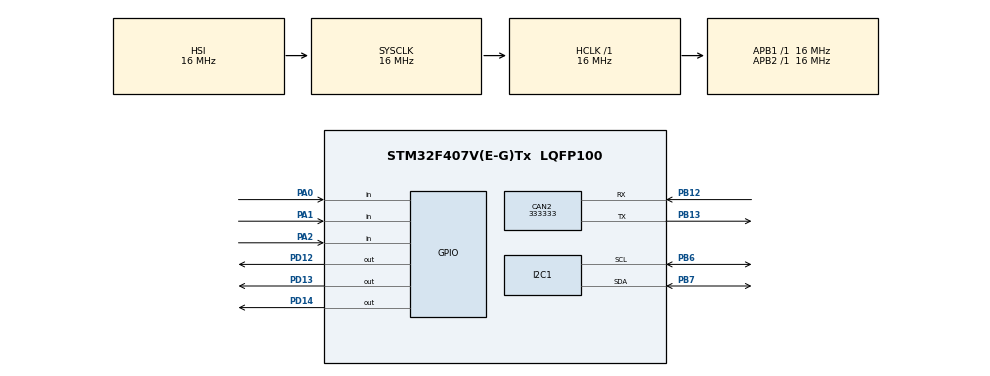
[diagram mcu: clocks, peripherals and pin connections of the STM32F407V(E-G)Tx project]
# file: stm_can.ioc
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CAN2.CalculateBaudRate=333333
CAN2.CalculateTimeBit=3000
CAN2.CalculateTimeQuantum=1000.0
Mcu.Family=STM32F4
Mcu.Name=STM32F407V(E-G)Tx
Mcu.Package=LQFP100
NVIC.PriorityGroup=NVIC_PRIORITYGROUP_0
PA0-WKUP.Signal=GPIO_Input
PA1.Signal=GPIO_Input
PA13.Mode=Trace_Asynchronous_SW
PA13.Signal=SYS_JTMS-SWDIO
PA14.Mode=Trace_Asynchronous_SW
PA14.Signal=SYS_JTCK-SWCLK
PA2.Signal=GPIO_Input
PB12.Mode=CAN_Activate
PB12.Signal=CAN2_RX
PB13.Mode=CAN_Activate
PB13.Signal=CAN2_TX
PB3.Mode=Trace_Asynchronous_SW
PB3.Signal=SYS_JTDO-SWO
PB6.Mode=I2C
PB6.Signal=I2C1_SCL
PB7.Mode=I2C
PB7.Signal=I2C1_SDA
PD12.Signal=GPIO_Output
PD13.Signal=GPIO_Output
PD14.Signal=GPIO_Output
ProjectManager.HeapSize=0x200
ProjectManager.StackSize=0x400
ProjectManager.TargetToolchain=STM32CubeIDE
RCC.48MHZClocksFreq_Value=96000000
RCC.AHBFreq_Value=16000000
RCC.APB1Freq_Value=16000000
RCC.APB1TimFreq_Value=16000000
RCC.APB2Freq_Value=16000000
RCC.APB2TimFreq_Value=16000000
RCC.CortexFreq_Value=16000000
RCC.HCLKFreq_Value=16000000
RCC.HSE_VALUE=8000000
RCC.HSI_VALUE=16000000
RCC.PLLM=8
RCC.PLLN=336
RCC.PLLQ=7
RCC.SYSCLKFreq_VALUE=16000000
RCC.VCOOutputFreq_Value=672000000
board=STM32F407G-DISC1

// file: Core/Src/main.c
/* USER CODE BEGIN Header */
/**
  ******************************************************************************
  * @file           : main.c
  * @brief          : Main program body
  ******************************************************************************
  * @attention
  *
  * Copyright (c) 2024 STMicroelectronics.
  * All rights reserved.
  *
  * This software is licensed under terms that can be found in the LICENSE file
  * in the root directory of this software component.
  * If no LICENSE file comes with this software, it is provided AS-IS.
  *
  ******************************************************************************
  */
/* USER CODE END Header */
#include "main.h"

/* USER CODE BEGIN Includes */
#include "stm32f4xx_hal.h"
#include <stdio.h>
#include <string.h>

/* USER CODE END Includes */

/* USER CODE BEGIN PTD */
#define BMP180_ADDR 0x77 << 1
#define BMP180_REG_CONTROL 0xF4
#define BMP180_REG_RESULT  0xF6
#define BMP180_CMD_TEMP    0x2E
#define BMP180_CMD_PRESSURE 0x34

#define BMP180_CAL_AC1 0xAA
#define BMP180_CAL_AC2 0xAC
#define BMP180_CAL_AC3 0xAE
#define BMP180_CAL_AC4 0xB0
#define BMP180_CAL_AC5 0xB2
#define BMP180_CAL_AC6 0xB4
#define BMP180_CAL_B1 0xB6
#define BMP180_CAL_B2 0xB8
#define BMP180_CAL_MB 0xBA
#define BMP180_CAL_MC 0xBC
#define BMP180_CAL_MD 0xBE

/* USER CODE END PTD */

//ADC_HandleTypeDef hadc1;
CAN_HandleTypeDef hcan2;
I2C_HandleTypeDef hi2c1;

/* USER CODE BEGIN PV */
int16_t AC1, AC2, AC3, B1, B2, MB, MC, MD;
uint16_t AC4, AC5, AC6;

float temperature = 0;
int motion = 0;
int heat = 0;
int gas = 0;

CAN_TxHeaderTypeDef TxHeader;
CAN_RxHeaderTypeDef RxHeader;
uint8_t TxData[8];
uint32_t TxMailbox;
/* USER CODE END PV */

void SystemClock_Config(void);
static void MX_GPIO_Init(void);
static void MX_CAN2_Init(void);
//static void MX_ADC1_Init(void);
static void MX_I2C1_Init(void);
/* USER CODE BEGIN PFP */
int ReadHeatFlameSensor(void);
int ReadMotionSensor(void);
//int ReadSmokeSensor(void);
int CheckSmokeAndControlLED(void);
//float ReadADCValue(void);

void BMP180_Init(void);
void BMP180_ReadCalibrationData(void);
int16_t BMP180_ReadRawTemperature(void);
//int32_t BMP180_ReadRawPressure(void);
float BMP180_GetTemperature(void);
//float BMP180_GetPressure(void);

void CAN_Filter_Config(void);
void CAN_Transmit(void);
void Error_Handler(void);
/* USER CODE END PFP */

int main(void)
{

  /* MCU Configuration--------------------------------------------------------*/

  HAL_Init();
  //SystemClock_Config();

  MX_GPIO_Init();
  MX_CAN2_Init();
  //MX_ADC1_Init();
  MX_I2C1_Init();

  /* USER CODE BEGIN 2 */
  BMP180_Init();

  CAN_Filter_Config();

  if(HAL_CAN_Start(&hcan2) != HAL_OK)
  {
    Error_Handler();
  }
  /* USER CODE END 2 */

  /* Infinite loop */
  while (1)
  {
    /* USER CODE END WHILE */
    motion = ReadMotionSensor();
    heat = ReadHeatFlameSensor();
    temperature = BMP180_GetTemperature();
    gas =  CheckSmokeAndControlLED();

    CAN_Transmit();
    HAL_Delay(500); // Transmit every half second
  }
}

/* Reading Heat/Flame Sensor */
int ReadHeatFlameSensor(void)
{
    int mess = 0;

    if (HAL_GPIO_ReadPin(GPIOA, GPIO_PIN_0) == GPIO_PIN_RESET)
    {
        HAL_GPIO_WritePin(GPIOD, GPIO_PIN_12, GPIO_PIN_SET);
        mess = 1;
    }
    else
    {
        HAL_GPIO_WritePin(GPIOD, GPIO_PIN_12, GPIO_PIN_RESET);
        mess = 0;
    }

    HAL_Delay(100);
    return mess;
}

/* Reading Motion Sensor */
int ReadMotionSensor(void)
{
    int state = 0;
    if (HAL_GPIO_ReadPin(GPIOA, GPIO_PIN_1) == 1)
    {
        HAL_GPIO_WritePin(GPIOD, GPIO_PIN_13, GPIO_PIN_SET);
        state = 1;
    }
    else
    {
        HAL_GPIO_WritePin(GPIOD, GPIO_PIN_13, GPIO_PIN_RESET);
        state = 0;
    }

    HAL_Delay(100);
    return state;
}

int CheckSmokeAndControlLED(void)
{
    int smokeDetected = 0;

    // Read the state of the D0 pin
    if (HAL_GPIO_ReadPin(GPIOA, GPIO_PIN_2) == GPIO_PIN_RESET)  // Replace GPIO_PIN_0 with the correct pin number for D0
    {
        // Smoke detected (D0 pin is HIGH)
        smokeDetected = 1;
        HAL_GPIO_WritePin(GPIOD, GPIO_PIN_14, GPIO_PIN_SET);  // Turn on LED for indication (optional)
    }
    else
    {
        // No smoke detected (D0 pin is LOW)
        smokeDetected = 0;
        HAL_GPIO_WritePin(GPIOD, GPIO_PIN_14, GPIO_PIN_RESET);  // Turn off LED (optional)
    }

    return smokeDetected;
}

/* BMP180 Initialization */
void BMP180_Init(void)
{
  BMP180_ReadCalibrationData();
}

/* Reading Calibration Data */
void BMP180_ReadCalibrationData(void)
{
  uint8_t data[22];
  HAL_I2C_Mem_Read(&hi2c1, BMP180_ADDR, BMP180_CAL_AC1, I2C_MEMADD_SIZE_8BIT, data, 22, HAL_MAX_DELAY);

  AC1 = (data[0] << 8) | data[1];
  AC2 = (data[2] << 8) | data[3];
  AC3 = (data[4] << 8) | data[5];
  AC4 = (data[6] << 8) | data[7];
  AC5 = (data[8] << 8) | data[9];
  AC6 = (data[10] << 8) | data[11];
  B1  = (data[12] << 8) | data[13];
  B2  = (data[14] << 8) | data[15];
  MB  = (data[16] << 8) | data[17];
  MC  = (data[18] << 8) | data[19];
  MD  = (data[20] << 8) | data[21];
}

/* Reading Raw Temperature from BMP180 */
int16_t BMP180_ReadRawTemperature(void)
{
  uint8_t cmd = BMP180_CMD_TEMP;
  HAL_I2C_Mem_Write(&hi2c1, BMP180_ADDR, BMP180_REG_CONTROL, I2C_MEMADD_SIZE_8BIT, &cmd, 1, HAL_MAX_DELAY);
  HAL_Delay(5);

  uint8_t data[2];
  HAL_I2C_Mem_Read(&hi2c1, BMP180_ADDR, BMP180_REG_RESULT, I2C_MEMADD_SIZE_8BIT, data, 2, HAL_MAX_DELAY);
  return (data[0] << 8) | data[1];
}

/* Getting Temperature from BMP180 */
float BMP180_GetTemperature(void)
{
  int32_t UT = BMP180_ReadRawTemperature();

  int32_t X1 = (UT - AC6) * AC5 / (1 << 15);
  int32_t X2 = (MC * (1 << 11)) / (X1 + MD);
  int32_t B5 = X1 + X2;
  float temperature = (B5 + 8) / 16.0 / 10.0;

  return temperature;
}

/* CAN Filter Configuration */
void CAN_Filter_Config(void)
{
  CAN_FilterTypeDef canfilterconfig;

  canfilterconfig.FilterActivation = CAN_FILTER_ENABLE;
  canfilterconfig.FilterBank = 0;
  canfilterconfig.FilterFIFOAssignment = CAN_FILTER_FIFO0;
  canfilterconfig.FilterIdHigh = 0x0000;
  canfilterconfig.FilterIdLow = 0x0000;
  canfilterconfig.FilterMaskIdHigh = 0x0000;
  canfilterconfig.FilterMaskIdLow = 0x0000;
  canfilterconfig.FilterScale = CAN_FILTERSCALE_32BIT;
  canfilterconfig.FilterMode = CAN_FILTERMODE_IDMASK;
  canfilterconfig.SlaveStartFilterBank = 14;

  if(HAL_CAN_ConfigFilter(&hcan2, &canfilterconfig) != HAL_OK)
  {
    Error_Handler();
  }
}

/* Transmit CAN Message */
void CAN_Transmit(void)
{
  // Transmitting Temperature Data
  TxHeader.StdId = 0x65D;
  TxHeader.ExtId = 0x01;
  TxHeader.RTR = CAN_RTR_DATA;
  TxHeader.IDE = CAN_ID_STD;
  TxHeader.DLC = 5;
  TxHeader.TransmitGlobalTime = DISABLE;

  // Packing the data
  TxData[0] = (uint8_t)temperature;
 // TxData[1] = (uint8_t)(temperature * 100) % 100; // Two decimal precision
  TxData[1] = motion;
  TxData[2] = heat;
  TxData[3] = gas;

  if(HAL_CAN_AddTxMessage(&hcan2, &TxHeader, TxData, &TxMailbox) != HAL_OK)
  {
    Error_Handler();
  }
}
void SystemClock_Config(void)
{
  RCC_OscInitTypeDef RCC_OscInitStruct = {0};
  RCC_ClkInitTypeDef RCC_ClkInitStruct = {0};

  /** Configure the main internal regulator output voltage
  */
  __HAL_RCC_PWR_CLK_ENABLE();
  __HAL_PWR_VOLTAGESCALING_CONFIG(PWR_REGULATOR_VOLTAGE_SCALE1);

  /** Initializes the RCC Oscillators according to the specified parameters
  * in the RCC_OscInitTypeDef structure.
  */
  RCC_OscInitStruct.OscillatorType = RCC_OSCILLATORTYPE_HSI;
  RCC_OscInitStruct.HSIState = RCC_HSI_ON;
  RCC_OscInitStruct.HSICalibrationValue = RCC_HSICALIBRATION_DEFAULT;
  RCC_OscInitStruct.PLL.PLLState = RCC_PLL_NONE;
  if (HAL_RCC_OscConfig(&RCC_OscInitStruct) != HAL_OK)
  {
    Error_Handler();
  }

  /** Initializes the CPU, AHB and APB buses clocks
  */
  RCC_ClkInitStruct.ClockType = RCC_CLOCKTYPE_HCLK|RCC_CLOCKTYPE_SYSCLK
                              |RCC_CLOCKTYPE_PCLK1|RCC_CLOCKTYPE_PCLK2;
  RCC_ClkInitStruct.SYSCLKSource = RCC_SYSCLKSOURCE_HSI;
  RCC_ClkInitStruct.AHBCLKDivider = RCC_SYSCLK_DIV1;
  RCC_ClkInitStruct.APB1CLKDivider = RCC_HCLK_DIV1;
  RCC_ClkInitStruct.APB2CLKDivider = RCC_HCLK_DIV1;

  if (HAL_RCC_ClockConfig(&RCC_ClkInitStruct, FLASH_LATENCY_0) != HAL_OK)
  {
    Error_Handler();
  }
}

static void MX_CAN2_Init(void)
{

  hcan2.Instance = CAN2;
  hcan2.Init.Prescaler = 2;
  hcan2.Init.Mode = CAN_MODE_NORMAL;
  hcan2.Init.SyncJumpWidth = CAN_SJW_1TQ;
  hcan2.Init.TimeSeg1 = CAN_BS1_10TQ;
  hcan2.Init.TimeSeg2 = CAN_BS2_5TQ;
  hcan2.Init.TimeTriggeredMode = DISABLE;
  hcan2.Init.AutoBusOff = DISABLE;
  hcan2.Init.AutoWakeUp = DISABLE;
  hcan2.Init.AutoRetransmission = DISABLE;
  hcan2.Init.ReceiveFifoLocked = DISABLE;
  hcan2.Init.TransmitFifoPriority = DISABLE;
  if (HAL_CAN_Init(&hcan2) != HAL_OK)
  {
    Error_Handler();
  }

}

static void MX_I2C1_Init(void)
{

  hi2c1.Instance = I2C1;
  hi2c1.Init.ClockSpeed = 100000;
  hi2c1.Init.DutyCycle = I2C_DUTYCYCLE_2;
  hi2c1.Init.OwnAddress1 = 0;
  hi2c1.Init.AddressingMode = I2C_ADDRESSINGMODE_7BIT;
  hi2c1.Init.DualAddressMode = I2C_DUALADDRESS_DISABLE;
  hi2c1.Init.OwnAddress2 = 0;
  hi2c1.Init.GeneralCallMode = I2C_GENERALCALL_DISABLE;
  hi2c1.Init.NoStretchMode = I2C_NOSTRETCH_DISABLE;
  if (HAL_I2C_Init(&hi2c1) != HAL_OK)
  {
    Error_Handler();
  }

}

static void MX_GPIO_Init(void)
{
  GPIO_InitTypeDef GPIO_InitStruct = {0};

  /* GPIO Ports Clock Enable */
  __HAL_RCC_GPIOA_CLK_ENABLE();
  __HAL_RCC_GPIOB_CLK_ENABLE();
  __HAL_RCC_GPIOD_CLK_ENABLE();

  /*Configure GPIO pin Output Level */
  HAL_GPIO_WritePin(GPIOD, GPIO_PIN_12|GPIO_PIN_13|GPIO_PIN_14, GPIO_PIN_RESET);

  /*Configure GPIO pins : PA0 PA1 PA2 */
  GPIO_InitStruct.Pin = GPIO_PIN_0|GPIO_PIN_1|GPIO_PIN_2;
  GPIO_InitStruct.Mode = GPIO_MODE_INPUT;
  GPIO_InitStruct.Pull = GPIO_NOPULL;
  HAL_GPIO_Init(GPIOA, &GPIO_InitStruct);

  /*Configure GPIO pins : PD12 PD13 PD14 */
  GPIO_InitStruct.Pin = GPIO_PIN_12|GPIO_PIN_13|GPIO_PIN_14;
  GPIO_InitStruct.Mode = GPIO_MODE_OUTPUT_PP;
  GPIO_InitStruct.Pull = GPIO_NOPULL;
  GPIO_InitStruct.Speed = GPIO_SPEED_FREQ_LOW;
  HAL_GPIO_Init(GPIOD, &GPIO_InitStruct);

}

void Error_Handler(void)
{
  __disable_irq();
  while (1)
  {
  }
}
